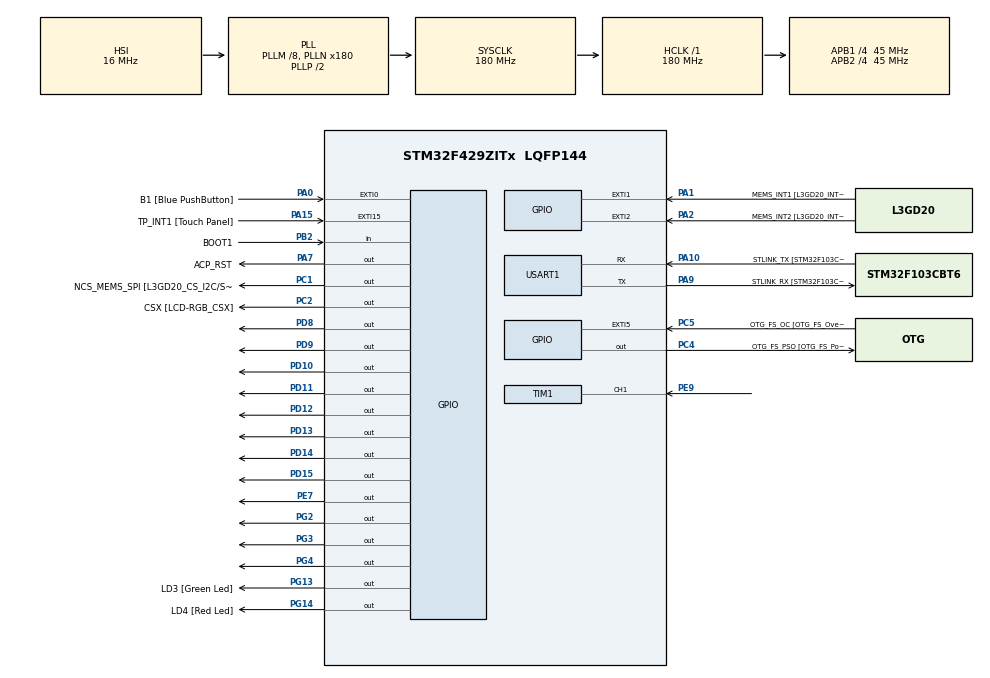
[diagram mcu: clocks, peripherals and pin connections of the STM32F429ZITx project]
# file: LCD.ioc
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Mcu.Family=STM32F4
Mcu.Name=STM32F429ZITx
Mcu.Package=LQFP144
NVIC.PriorityGroup=NVIC_PRIORITYGROUP_0
NVIC.TIM1_CC_IRQn=true\:0\:0\:false\:false\:true\:true\:true\:true
PA0/WKUP.GPIO_Label=B1 [Blue PushButton]
PA0/WKUP.GPIO_ModeDefaultEXTI=GPIO_MODE_EVT_RISING
PA0/WKUP.GPIO_PuPd=GPIO_NOPULL
PA0/WKUP.Signal=GPXTI0
PA1.GPIO_Label=MEMS_INT1 [L3GD20_INT1]
PA1.GPIO_ModeDefaultEXTI=GPIO_MODE_EVT_RISING
PA1.GPIO_PuPd=GPIO_NOPULL
PA1.Signal=GPXTI1
PA10.GPIO_Label=STLINK_TX [STM32F103CBT6_PA2]
PA10.Mode=Asynchronous
PA10.Signal=USART1_RX
PA11.GPIO_Label=R4
PA11.GPIO_Mode=GPIO_MODE_AF_PP
PA11.GPIO_PuPd=GPIO_NOPULL
PA11.GPIO_Speed=GPIO_SPEED_FREQ_LOW
PA11.Signal=LTDC_R4
PA12.GPIO_Label=R5
PA12.GPIO_Mode=GPIO_MODE_AF_PP
PA12.GPIO_PuPd=GPIO_NOPULL
PA12.GPIO_Speed=GPIO_SPEED_FREQ_LOW
PA12.Signal=LTDC_R5
PA13.GPIO_Label=SWDIO
PA13.Mode=Serial_Wire
PA13.Signal=SYS_JTMS-SWDIO
PA14.GPIO_Label=SWCLK
PA14.Mode=Serial_Wire
PA14.Signal=SYS_JTCK-SWCLK
PA15.GPIO_Label=TP_INT1 [Touch Panel]
PA15.GPIO_ModeDefaultEXTI=GPIO_MODE_EVT_RISING
PA15.GPIO_PuPd=GPIO_NOPULL
PA15.Signal=GPXTI15
PA2.GPIO_Label=MEMS_INT2 [L3GD20_INT2]
PA2.GPIO_ModeDefaultEXTI=GPIO_MODE_EVT_RISING
PA2.GPIO_PuPd=GPIO_NOPULL
PA2.Signal=GPXTI2
PA3.GPIO_Label=B5
PA3.GPIO_Mode=GPIO_MODE_AF_PP
PA3.GPIO_PuPd=GPIO_NOPULL
PA3.GPIO_Speed=GPIO_SPEED_FREQ_LOW
PA3.Signal=LTDC_B5
PA4.GPIO_Label=VSYNC
PA4.GPIO_Mode=GPIO_MODE_AF_PP
PA4.GPIO_PuPd=GPIO_NOPULL
PA4.GPIO_Speed=GPIO_SPEED_FREQ_LOW
PA4.Signal=LTDC_VSYNC
PA6.GPIO_Label=G2
PA6.GPIO_Mode=GPIO_MODE_AF_PP
PA6.GPIO_PuPd=GPIO_NOPULL
PA6.GPIO_Speed=GPIO_SPEED_FREQ_LOW
PA6.Signal=LTDC_G2
PA7.GPIO_Label=ACP_RST
PA7.GPIO_Mode=GPIO_MODE_OUTPUT_PP
PA7.GPIO_PuPd=GPIO_NOPULL
PA7.GPIO_Speed=GPIO_SPEED_FREQ_LOW
PA7.Signal=GPIO_Output
PA8.GPIO_Label=I2C3_SCL [ACP/RF_SCL]
PA8.GPIO_Mode=GPIO_MODE_AF_OD
PA8.GPIO_PuPd=GPIO_NOPULL
PA8.GPIO_Speed=GPIO_SPEED_FREQ_LOW
PA8.Signal=I2C3_SCL
PA9.GPIO_Label=STLINK_RX [STM32F103CBT6_PA3]
PA9.Mode=Asynchronous
PA9.Signal=USART1_TX
PB0.GPIO_Label=R3
PB0.GPIO_Mode=GPIO_MODE_AF_PP
PB0.GPIO_PuPd=GPIO_NOPULL
PB0.GPIO_Speed=GPIO_SPEED_FREQ_LOW
PB0.Signal=LTDC_R3
PB1.GPIO_Label=R6
PB1.GPIO_Mode=GPIO_MODE_AF_PP
PB1.GPIO_PuPd=GPIO_NOPULL
PB1.GPIO_Speed=GPIO_SPEED_FREQ_LOW
PB1.Signal=LTDC_R6
PB10.GPIO_Label=G4
PB10.GPIO_Mode=GPIO_MODE_AF_PP
PB10.GPIO_PuPd=GPIO_NOPULL
PB10.GPIO_Speed=GPIO_SPEED_FREQ_LOW
PB10.Signal=LTDC_G4
PB11.GPIO_Label=G5
PB11.GPIO_Mode=GPIO_MODE_AF_PP
PB11.GPIO_PuPd=GPIO_NOPULL
PB11.GPIO_Speed=GPIO_SPEED_FREQ_LOW
PB11.Signal=LTDC_G5
PB12.GPIO_Label=OTG_HS_ID
PB12.GPIO_Mode=GPIO_MODE_AF_PP
PB12.GPIO_PuPd=GPIO_NOPULL
PB12.GPIO_Speed=GPIO_SPEED_FREQ_LOW
PB12.Signal=USB_OTG_HS_ID
PB13.GPIO_Label=VBUS_HS
PB13.GPIO_Mode=GPIO_MODE_INPUT
PB13.GPIO_PuPd=GPIO_NOPULL
PB13.Signal=USB_OTG_HS_VBUS
PB14.GPIO_Label=OTG_HS_DM
PB14.GPIO_Mode=GPIO_MODE_AF_PP
PB14.GPIO_PuPd=GPIO_NOPULL
PB14.GPIO_Speed=GPIO_SPEED_FREQ_LOW
PB14.Signal=USB_OTG_HS_DM
PB15.GPIO_Label=OTG_HS_DP
PB15.GPIO_Mode=GPIO_MODE_AF_PP
PB15.GPIO_PuPd=GPIO_NOPULL
PB15.GPIO_Speed=GPIO_SPEED_FREQ_LOW
PB15.Signal=USB_OTG_HS_DP
PB2/BOOT1.GPIO_Label=BOOT1
PB2/BOOT1.GPIO_Mode=GPIO_MODE_INPUT
PB2/BOOT1.GPIO_PuPd=GPIO_NOPULL
PB2/BOOT1.Signal=GPIO_Input
PB5.GPIO_Label=SDCKE1
PB5.GPIO_Mode=GPIO_MODE_AF_PP
PB5.GPIO_PuPd=GPIO_NOPULL
PB5.GPIO_Speed=GPIO_SPEED_FREQ_VERY_HIGH
PB5.Signal=FMC_SDCKE1
PB6.GPIO_Label=SDNE1 [SDRAM_CS]
PB6.GPIO_Mode=GPIO_MODE_AF_PP
PB6.GPIO_PuPd=GPIO_NOPULL
PB6.GPIO_Speed=GPIO_SPEED_FREQ_VERY_HIGH
PB6.Signal=FMC_SDNE1
PB8.GPIO_Label=B6
PB8.GPIO_Mode=GPIO_MODE_AF_PP
PB8.GPIO_PuPd=GPIO_NOPULL
PB8.GPIO_Speed=GPIO_SPEED_FREQ_LOW
PB8.Signal=LTDC_B6
PB9.GPIO_Label=B7
PB9.GPIO_Mode=GPIO_MODE_AF_PP
PB9.GPIO_PuPd=GPIO_NOPULL
PB9.GPIO_Speed=GPIO_SPEED_FREQ_LOW
PB9.Signal=LTDC_B7
PC0.GPIO_Label=SDNWE
PC0.GPIO_Mode=GPIO_MODE_AF_PP
PC0.GPIO_PuPd=GPIO_NOPULL
PC0.GPIO_Speed=GPIO_SPEED_FREQ_VERY_HIGH
PC0.Signal=FMC_SDNWE
PC1.GPIO_Label=NCS_MEMS_SPI [L3GD20_CS_I2C/SPI]
PC1.GPIO_Mode=GPIO_MODE_OUTPUT_PP
PC1.GPIO_PuPd=GPIO_NOPULL
PC1.GPIO_Speed=GPIO_SPEED_FREQ_LOW
PC1.Signal=GPIO_Output
PC10.GPIO_Label=R2
PC10.GPIO_Mode=GPIO_MODE_AF_PP
PC10.GPIO_PuPd=GPIO_NOPULL
PC10.GPIO_Speed=GPIO_SPEED_FREQ_LOW
PC10.Signal=LTDC_R2
PC14/OSC32_IN.GPIO_Label=PC14-OSC32_IN
PC14/OSC32_IN.Signal=RCC_OSC32_IN
PC15/OSC32_OUT.GPIO_Label=PC15-OSC32_OUT
PC15/OSC32_OUT.Signal=RCC_OSC32_OUT
PC2.GPIO_Label=CSX [LCD-RGB_CSX]
PC2.GPIO_Mode=GPIO_MODE_OUTPUT_PP
PC2.GPIO_PuPd=GPIO_NOPULL
PC2.GPIO_Speed=GPIO_SPEED_FREQ_LOW
PC2.Signal=GPIO_Output
PC4.GPIO_Label=OTG_FS_PSO [OTG_FS_PowerSwitchOn]
PC4.GPIO_Mode=GPIO_MODE_OUTPUT_PP
PC4.GPIO_PuPd=GPIO_NOPULL
PC4.GPIO_Speed=GPIO_SPEED_FREQ_LOW
PC4.Signal=GPIO_Output
PC5.GPIO_Label=OTG_FS_OC [OTG_FS_OverCurrent]
PC5.GPIO_ModeDefaultEXTI=GPIO_MODE_EVT_RISING
PC5.Signal=GPXTI5
PC6.GPIO_Label=HSYNC
PC6.GPIO_Mode=GPIO_MODE_AF_PP
PC6.GPIO_PuPd=GPIO_NOPULL
PC6.GPIO_Speed=GPIO_SPEED_FREQ_LOW
PC6.Signal=LTDC_HSYNC
PC7.GPIO_Label=G6
PC7.GPIO_Mode=GPIO_MODE_AF_PP
PC7.GPIO_PuPd=GPIO_NOPULL
PC7.GPIO_Speed=GPIO_SPEED_FREQ_LOW
PC7.Signal=LTDC_G6
PC9.GPIO_Label=I2C3_SDA [ACP/RF_SDA]
PC9.GPIO_Mode=GPIO_MODE_AF_OD
PC9.GPIO_PuPd=GPIO_NOPULL
PC9.GPIO_Speed=GPIO_SPEED_FREQ_LOW
PC9.Signal=I2C3_SDA
PD0.GPIO_Label=D2
PD0.GPIO_Mode=GPIO_MODE_AF_PP
PD0.GPIO_PuPd=GPIO_NOPULL
PD0.GPIO_Speed=GPIO_SPEED_FREQ_VERY_HIGH
PD0.Signal=FMC_D2_DA2
PD1.GPIO_Label=D3
PD1.GPIO_Mode=GPIO_MODE_AF_PP
PD1.GPIO_PuPd=GPIO_NOPULL
PD1.GPIO_Speed=GPIO_SPEED_FREQ_VERY_HIGH
PD1.Signal=FMC_D3_DA3
PD10.Signal=GPIO_Output
PD11.Signal=GPIO_Output
PD12.Signal=GPIO_Output
PD13.Signal=GPIO_Output
PD14.Signal=GPIO_Output
PD15.Signal=GPIO_Output
PD3.GPIO_Label=G7
PD3.GPIO_Mode=GPIO_MODE_AF_PP
PD3.GPIO_PuPd=GPIO_NOPULL
PD3.GPIO_Speed=GPIO_SPEED_FREQ_LOW
PD3.Signal=LTDC_G7
PD6.GPIO_Label=B2
PD6.GPIO_Mode=GPIO_MODE_AF_PP
PD6.GPIO_PuPd=GPIO_NOPULL
PD6.GPIO_Speed=GPIO_SPEED_FREQ_LOW
PD6.Signal=LTDC_B2
PD8.Signal=GPIO_Output
PD9.Signal=GPIO_Output
PE0.GPIO_Label=NBL0 [SDRAM_LDQM]
PE0.GPIO_Mode=GPIO_MODE_AF_PP
PE0.GPIO_PuPd=GPIO_NOPULL
PE0.GPIO_Speed=GPIO_SPEED_FREQ_VERY_HIGH
PE0.Signal=FMC_NBL0
PE1.GPIO_Label=NBL1 [SDRAM_UDQM]
PE1.GPIO_Mode=GPIO_MODE_AF_PP
PE1.GPIO_PuPd=GPIO_NOPULL
PE1.GPIO_Speed=GPIO_SPEED_FREQ_VERY_HIGH
PE1.Signal=FMC_NBL1
PE10.GPIO_Label=D7
PE10.GPIO_Mode=GPIO_MODE_AF_PP
PE10.GPIO_PuPd=GPIO_NOPULL
PE10.GPIO_Speed=GPIO_SPEED_FREQ_VERY_HIGH
PE10.Signal=FMC_D7_DA7
PE11.GPIO_Label=D8
PE11.GPIO_Mode=GPIO_MODE_AF_PP
PE11.GPIO_PuPd=GPIO_NOPULL
PE11.GPIO_Speed=GPIO_SPEED_FREQ_VERY_HIGH
PE11.Signal=FMC_D8_DA8
PE12.GPIO_Label=D9
PE12.GPIO_Mode=GPIO_MODE_AF_PP
PE12.GPIO_PuPd=GPIO_NOPULL
PE12.GPIO_Speed=GPIO_SPEED_FREQ_VERY_HIGH
PE12.Signal=FMC_D9_DA9
PE13.GPIO_Label=D10
PE13.GPIO_Mode=GPIO_MODE_AF_PP
PE13.GPIO_PuPd=GPIO_NOPULL
PE13.GPIO_Speed=GPIO_SPEED_FREQ_VERY_HIGH
PE13.Signal=FMC_D10_DA10
PE14.GPIO_Label=D11
PE14.GPIO_Mode=GPIO_MODE_AF_PP
PE14.GPIO_PuPd=GPIO_NOPULL
PE14.GPIO_Speed=GPIO_SPEED_FREQ_VERY_HIGH
PE14.Signal=FMC_D11_DA11
PE15.GPIO_Label=D12
PE15.GPIO_Mode=GPIO_MODE_AF_PP
PE15.GPIO_PuPd=GPIO_NOPULL
PE15.GPIO_Speed=GPIO_SPEED_FREQ_VERY_HIGH
PE15.Signal=FMC_D12_DA12
PE7.Signal=GPIO_Output
PE8.GPIO_Label=D5
PE8.GPIO_Mode=GPIO_MODE_AF_PP
PE8.GPIO_PuPd=GPIO_NOPULL
PE8.GPIO_Speed=GPIO_SPEED_FREQ_VERY_HIGH
PE8.Signal=FMC_D5_DA5
PE9.Signal=S_TIM1_CH1
PF0.GPIO_Label=A0
PF0.GPIO_Mode=GPIO_MODE_AF_PP
PF0.GPIO_PuPd=GPIO_NOPULL
PF0.GPIO_Speed=GPIO_SPEED_FREQ_VERY_HIGH
PF0.Signal=FMC_A0
PF1.GPIO_Label=A1
PF1.GPIO_Mode=GPIO_MODE_AF_PP
PF1.GPIO_PuPd=GPIO_NOPULL
PF1.GPIO_Speed=GPIO_SPEED_FREQ_VERY_HIGH
PF1.Signal=FMC_A1
PF10.GPIO_Label=ENABLE [LCD-RGB_ENABLE]
PF10.GPIO_Mode=GPIO_MODE_AF_PP
PF10.GPIO_PuPd=GPIO_NOPULL
PF10.GPIO_Speed=GPIO_SPEED_FREQ_LOW
PF10.Signal=LTDC_DE
PF11.GPIO_Label=SDNRAS
PF11.GPIO_Mode=GPIO_MODE_AF_PP
PF11.GPIO_PuPd=GPIO_NOPULL
PF11.GPIO_Speed=GPIO_SPEED_FREQ_VERY_HIGH
PF11.Signal=FMC_SDNRAS
PF12.GPIO_Label=A6
PF12.GPIO_Mode=GPIO_MODE_AF_PP
PF12.GPIO_PuPd=GPIO_NOPULL
PF12.GPIO_Speed=GPIO_SPEED_FREQ_VERY_HIGH
PF12.Signal=FMC_A6
PF13.GPIO_Label=A7
PF13.GPIO_Mode=GPIO_MODE_AF_PP
PF13.GPIO_PuPd=GPIO_NOPULL
PF13.GPIO_Speed=GPIO_SPEED_FREQ_VERY_HIGH
PF13.Signal=FMC_A7
PF14.GPIO_Label=A8
PF14.GPIO_Mode=GPIO_MODE_AF_PP
PF14.GPIO_PuPd=GPIO_NOPULL
PF14.GPIO_Speed=GPIO_SPEED_FREQ_VERY_HIGH
PF14.Signal=FMC_A8
PF15.GPIO_Label=A9
PF15.GPIO_Mode=GPIO_MODE_AF_PP
PF15.GPIO_PuPd=GPIO_NOPULL
PF15.GPIO_Speed=GPIO_SPEED_FREQ_VERY_HIGH
PF15.Signal=FMC_A9
PF2.GPIO_Label=A2
PF2.GPIO_Mode=GPIO_MODE_AF_PP
PF2.GPIO_PuPd=GPIO_NOPULL
PF2.GPIO_Speed=GPIO_SPEED_FREQ_VERY_HIGH
PF2.Signal=FMC_A2
PF3.GPIO_Label=A3
PF3.GPIO_Mode=GPIO_MODE_AF_PP
PF3.GPIO_PuPd=GPIO_NOPULL
PF3.GPIO_Speed=GPIO_SPEED_FREQ_VERY_HIGH
PF3.Signal=FMC_A3
PF4.GPIO_Label=A4
PF4.GPIO_Mode=GPIO_MODE_AF_PP
PF4.GPIO_PuPd=GPIO_NOPULL
PF4.GPIO_Speed=GPIO_SPEED_FREQ_VERY_HIGH
PF4.Signal=FMC_A4
PF5.GPIO_Label=A5
PF5.GPIO_Mode=GPIO_MODE_AF_PP
PF5.GPIO_PuPd=GPIO_NOPULL
PF5.GPIO_Speed=GPIO_SPEED_FREQ_VERY_HIGH
PF5.Signal=FMC_A5
PF7.GPIO_Label=SPI5_SCK [L3GD20_SCL/SPC]
PF7.GPIO_Mode=GPIO_MODE_AF_PP
PF7.GPIO_PuPd=GPIO_NOPULL
PF7.GPIO_Speed=GPIO_SPEED_FREQ_LOW
PF7.Signal=SPI5_SCK
PF8.GPIO_Label=SPI5_MISO [L3GD20_SDO]
PF8.GPIO_Mode=GPIO_MODE_AF_PP
PF8.GPIO_PuPd=GPIO_NOPULL
PF8.GPIO_Speed=GPIO_SPEED_FREQ_LOW
PF8.Signal=SPI5_MISO
PF9.GPIO_Label=SPI5_MOSI [L3GD20_SDA/SDI/SDO]
PF9.GPIO_Mode=GPIO_MODE_AF_PP
PF9.GPIO_PuPd=GPIO_NOPULL
PF9.GPIO_Speed=GPIO_SPEED_FREQ_LOW
PF9.Signal=SPI5_MOSI
PG0.GPIO_Label=A10
PG0.GPIO_Mode=GPIO_MODE_AF_PP
PG0.GPIO_PuPd=GPIO_NOPULL
PG0.GPIO_Speed=GPIO_SPEED_FREQ_VERY_HIGH
PG0.Signal=FMC_A10
PG1.GPIO_Label=A11
PG1.GPIO_Mode=GPIO_MODE_AF_PP
PG1.GPIO_PuPd=GPIO_NOPULL
PG1.GPIO_Speed=GPIO_SPEED_FREQ_VERY_HIGH
PG1.Signal=FMC_A11
PG10.GPIO_Label=G3
PG10.GPIO_Mode=GPIO_MODE_AF_PP
PG10.GPIO_PuPd=GPIO_NOPULL
PG10.GPIO_Speed=GPIO_SPEED_FREQ_LOW
PG10.Signal=LTDC_G3
PG11.GPIO_Label=B3
PG11.GPIO_Mode=GPIO_MODE_AF_PP
PG11.GPIO_PuPd=GPIO_NOPULL
PG11.GPIO_Speed=GPIO_SPEED_FREQ_LOW
PG11.Signal=LTDC_B3
PG12.GPIO_Label=B4
PG12.GPIO_Mode=GPIO_MODE_AF_PP
PG12.GPIO_PuPd=GPIO_NOPULL
PG12.GPIO_Speed=GPIO_SPEED_FREQ_LOW
PG12.Signal=LTDC_B4
PG13.GPIO_Label=LD3 [Green Led]
PG13.GPIO_Mode=GPIO_MODE_OUTPUT_PP
PG13.GPIO_PuPd=GPIO_NOPULL
PG13.GPIO_Speed=GPIO_SPEED_FREQ_LOW
PG13.Signal=GPIO_Output
PG14.GPIO_Label=LD4 [Red Led]
PG14.GPIO_Mode=GPIO_MODE_OUTPUT_PP
PG14.GPIO_PuPd=GPIO_NOPULL
PG14.GPIO_Speed=GPIO_SPEED_FREQ_LOW
PG14.Signal=GPIO_Output
PG15.GPIO_Label=SDNCAS
PG15.GPIO_Mode=GPIO_MODE_AF_PP
PG15.GPIO_PuPd=GPIO_NOPULL
PG15.GPIO_Speed=GPIO_SPEED_FREQ_VERY_HIGH
PG15.Signal=FMC_SDNCAS
PG2.Signal=GPIO_Output
PG3.Signal=GPIO_Output
PG4.Signal=GPIO_Output
PG5.GPIO_Label=BA1
PG5.GPIO_Mode=GPIO_MODE_AF_PP
PG5.GPIO_PuPd=GPIO_NOPULL
PG5.GPIO_Speed=GPIO_SPEED_FREQ_VERY_HIGH
PG5.Signal=FMC_A15_BA1
PG6.GPIO_Label=R7
PG6.GPIO_Mode=GPIO_MODE_AF_PP
PG6.GPIO_PuPd=GPIO_NOPULL
PG6.GPIO_Speed=GPIO_SPEED_FREQ_LOW
PG6.Signal=LTDC_R7
PG7.GPIO_Label=DOTCLK [LCT-RGB_DOTCLK]
PG7.GPIO_Mode=GPIO_MODE_AF_PP
PG7.GPIO_PuPd=GPIO_NOPULL
PG7.GPIO_Speed=GPIO_SPEED_FREQ_LOW
PG7.Signal=LTDC_CLK
PG8.GPIO_Label=SDCLK
PG8.GPIO_Mode=GPIO_MODE_AF_PP
PG8.GPIO_PuPd=GPIO_NOPULL
PG8.GPIO_Speed=GPIO_SPEED_FREQ_VERY_HIGH
PG8.Signal=FMC_SDCLK
PH0/OSC_IN.GPIO_Label=PH0-OSC_IN
PH0/OSC_IN.Mode=HSE-External-Oscillator
PH0/OSC_IN.Signal=RCC_OSC_IN
PH1/OSC_OUT.GPIO_Label=PH1-OSC_OUT
PH1/OSC_OUT.Mode=HSE-External-Oscillator
PH1/OSC_OUT.Signal=RCC_OSC_OUT
ProjectManager.HeapSize=0x200
ProjectManager.StackSize=0x400
ProjectManager.TargetToolchain=STM32CubeIDE
RCC.48MHZClocksFreq_Value=51428571.428571425
RCC.AHBFreq_Value=180000000
RCC.APB1CLKDivider=RCC_HCLK_DIV4
RCC.APB1Freq_Value=45000000
RCC.APB1TimFreq_Value=90000000
RCC.APB2CLKDivider=RCC_HCLK_DIV4
RCC.APB2Freq_Value=45000000
RCC.APB2TimFreq_Value=90000000
RCC.CortexFreq_Value=180000000
RCC.HCLKFreq_Value=180000000
RCC.HSE_VALUE=8000000
RCC.HSI_VALUE=16000000
RCC.LSE_VALUE=32768
RCC.PLLM=8
RCC.PLLN=180
RCC.PLLQ=7
RCC.SYSCLKFreq_VALUE=180000000
RCC.SYSCLKSource=RCC_SYSCLKSOURCE_PLLCLK
RCC.VCOOutputFreq_Value=360000000
SH.FMC_A0.0=FMC_A0
SH.FMC_A1.0=FMC_A1
SH.FMC_A10.0=FMC_A10
SH.FMC_A11.0=FMC_A11
SH.FMC_A15_BA1.0=FMC_BA1
SH.FMC_A2.0=FMC_A2
SH.FMC_A3.0=FMC_A3
SH.FMC_A4.0=FMC_A4
SH.FMC_A5.0=FMC_A5
SH.FMC_A6.0=FMC_A6
SH.FMC_A7.0=FMC_A7
SH.FMC_A8.0=FMC_A8
SH.FMC_A9.0=FMC_A9
SH.FMC_D10_DA10.0=FMC_D10
SH.FMC_D11_DA11.0=FMC_D11
SH.FMC_D12_DA12.0=FMC_D12
SH.FMC_D2_DA2.0=FMC_D2
SH.FMC_D3_DA3.0=FMC_D3
SH.FMC_D5_DA5.0=FMC_D5
SH.FMC_D7_DA7.0=FMC_D7
SH.FMC_D8_DA8.0=FMC_D8
SH.FMC_D9_DA9.0=FMC_D9
SH.FMC_NBL0.0=FMC_NBL0
SH.FMC_NBL1.0=FMC_NBL1
SH.FMC_SDCLK.0=FMC_SDCLK
SH.FMC_SDNCAS.0=FMC_SDNCAS
SH.FMC_SDNRAS.0=FMC_SDNRAS
SH.FMC_SDNWE.0=FMC_SDNWE
SH.S_TIM1_CH1.0=TIM1_CH1,Input_Capture1_from_TI1
TIM1.Channel-Input_Capture1_from_TI1=TIM_CHANNEL_1
TIM1.Period=0xffff-1
TIM1.Prescaler=100-1
TIM6.Prescaler=89
USART1.VirtualMode=VM_ASYNC
VP_TIM1_VS_ClockSourceINT.Mode=Internal
VP_TIM6_VS_ClockSourceINT.Mode=Enable_Timer
board=STM32F429I-DISC1

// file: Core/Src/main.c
/* USER CODE BEGIN Header */
/**
  ******************************************************************************
  * @file           : main.c
  * @brief          : Main program body
  ******************************************************************************
  * @attention
  *
  * Copyright (c) 2025 STMicroelectronics.
  * All rights reserved.
  *
  * This software is licensed under terms that can be found in the LICENSE file
  * in the root directory of this software component.
  * If no LICENSE file comes with this software, it is provided AS-IS.
  *
  ******************************************************************************
  */
/* USER CODE END Header */
#include "main.h"
#include "HC_SR04.h"

TIM_HandleTypeDef htim1;
TIM_HandleTypeDef htim6;

UART_HandleTypeDef huart1;

void SystemClock_Config(void);
static void MX_GPIO_Init(void);
static void MX_TIM6_Init(void);
static void MX_USART1_UART_Init(void);
static void MX_TIM1_Init(void);

/* USER CODE BEGIN 0 */

void LCD_send_command(unsigned char x){
	//LCD Data

	HAL_GPIO_WritePin(GPIOD, GPIO_PIN_8, (x>>0)&0x01 ? GPIO_PIN_SET : GPIO_PIN_RESET);
	HAL_GPIO_WritePin(GPIOD, GPIO_PIN_9, (x>>1)&0x01 ? GPIO_PIN_SET : GPIO_PIN_RESET);
	HAL_GPIO_WritePin(GPIOD, GPIO_PIN_10, (x>>2)&0x01 ? GPIO_PIN_SET : GPIO_PIN_RESET);
	HAL_GPIO_WritePin(GPIOD, GPIO_PIN_11, (x>>3)&0x01 ? GPIO_PIN_SET : GPIO_PIN_RESET);
	HAL_GPIO_WritePin(GPIOD, GPIO_PIN_12, (x>>4)&0x01 ? GPIO_PIN_SET : GPIO_PIN_RESET);
	HAL_GPIO_WritePin(GPIOD, GPIO_PIN_13, (x>>5)&0x01 ? GPIO_PIN_SET : GPIO_PIN_RESET);
	HAL_GPIO_WritePin(GPIOD, GPIO_PIN_14, (x>>6)&0x01 ? GPIO_PIN_SET : GPIO_PIN_RESET);
	HAL_GPIO_WritePin(GPIOD, GPIO_PIN_15, (x>>7)&0x01 ? GPIO_PIN_SET : GPIO_PIN_RESET);

	//RS = 0;
	HAL_GPIO_WritePin(GPIOG, GPIO_PIN_3, GPIO_PIN_RESET);

	//RW = 0
	HAL_GPIO_WritePin(GPIOG, GPIO_PIN_2 , GPIO_PIN_RESET);

	//EN = 1;
	HAL_GPIO_WritePin(GPIOG, GPIO_PIN_4, GPIO_PIN_SET);

	HAL_Delay(1);

	//EN = 0;
	HAL_GPIO_WritePin(GPIOG, GPIO_PIN_4, GPIO_PIN_RESET);

	HAL_Delay(1);

	//EN = 1;
	HAL_GPIO_WritePin(GPIOG, GPIO_PIN_4, GPIO_PIN_SET);

}

void LCD_Write_One_Char(unsigned char c){
	//LCD Data
		HAL_GPIO_WritePin(GPIOD, GPIO_PIN_8, (c>>0)&0x01 ? GPIO_PIN_SET : GPIO_PIN_RESET);
		HAL_GPIO_WritePin(GPIOD, GPIO_PIN_9, (c>>1)&0x01 ? GPIO_PIN_SET : GPIO_PIN_RESET);
		HAL_GPIO_WritePin(GPIOD, GPIO_PIN_10, (c>>2)&0x01 ? GPIO_PIN_SET : GPIO_PIN_RESET);
		HAL_GPIO_WritePin(GPIOD, GPIO_PIN_11, (c>>3)&0x01 ? GPIO_PIN_SET : GPIO_PIN_RESET);
		HAL_GPIO_WritePin(GPIOD, GPIO_PIN_12, (c>>4)&0x01 ? GPIO_PIN_SET : GPIO_PIN_RESET);
		HAL_GPIO_WritePin(GPIOD, GPIO_PIN_13, (c>>5)&0x01 ? GPIO_PIN_SET : GPIO_PIN_RESET);
		HAL_GPIO_WritePin(GPIOD, GPIO_PIN_14, (c>>6)&0x01 ? GPIO_PIN_SET : GPIO_PIN_RESET);
		HAL_GPIO_WritePin(GPIOD, GPIO_PIN_15, (c>>7)&0x01 ? GPIO_PIN_SET : GPIO_PIN_RESET);

		//RS = 1;
		HAL_GPIO_WritePin(GPIOG, GPIO_PIN_3, GPIO_PIN_SET);

		//RW = 0
		HAL_GPIO_WritePin(GPIOG, GPIO_PIN_2 , GPIO_PIN_RESET);

		//EN = 1;
		HAL_GPIO_WritePin(GPIOG, GPIO_PIN_4, GPIO_PIN_SET);

		HAL_Delay(1);

		//EN = 0;
		HAL_GPIO_WritePin(GPIOG, GPIO_PIN_4, GPIO_PIN_RESET);

		HAL_Delay(1);

		//EN = 1;
		HAL_GPIO_WritePin(GPIOG, GPIO_PIN_4, GPIO_PIN_SET);

}

void LCD_Init(){

	LCD_send_command(0x38);

	LCD_send_command(0x0E);

	LCD_send_command(0x01);

	LCD_send_command(0x80);

}

void LCD_Write_String(char* str){
	int i = 0;
	char input_char;
	for(i = 0 ; *(str+i) != '\0'; i++){
		input_char = *(str+i);
		//Write Char into Pin
		HAL_GPIO_WritePin(GPIOD, GPIO_PIN_8, (input_char>>0)&0x01 ? GPIO_PIN_SET : GPIO_PIN_RESET);
			HAL_GPIO_WritePin(GPIOD, GPIO_PIN_9, (input_char>>1)&0x01 ? GPIO_PIN_SET : GPIO_PIN_RESET);
			HAL_GPIO_WritePin(GPIOD, GPIO_PIN_10, (input_char>>2)&0x01 ? GPIO_PIN_SET : GPIO_PIN_RESET);
			HAL_GPIO_WritePin(GPIOD, GPIO_PIN_11, (input_char>>3)&0x01 ? GPIO_PIN_SET : GPIO_PIN_RESET);
			HAL_GPIO_WritePin(GPIOD, GPIO_PIN_12, (input_char>>4)&0x01 ? GPIO_PIN_SET : GPIO_PIN_RESET);
			HAL_GPIO_WritePin(GPIOD, GPIO_PIN_13, (input_char>>5)&0x01 ? GPIO_PIN_SET : GPIO_PIN_RESET);
			HAL_GPIO_WritePin(GPIOD, GPIO_PIN_14, (input_char>>6)&0x01 ? GPIO_PIN_SET : GPIO_PIN_RESET);
			HAL_GPIO_WritePin(GPIOD, GPIO_PIN_15, (input_char>>7)&0x01 ? GPIO_PIN_SET : GPIO_PIN_RESET);

		//RS = 1;
					HAL_GPIO_WritePin(GPIOG, GPIO_PIN_3, GPIO_PIN_SET);

					//RW = 0
					HAL_GPIO_WritePin(GPIOG, GPIO_PIN_2 , GPIO_PIN_RESET);

					//EN = 1;
					HAL_GPIO_WritePin(GPIOG, GPIO_PIN_4, GPIO_PIN_SET);

					HAL_Delay(1);

					//EN = 0;
					HAL_GPIO_WritePin(GPIOG, GPIO_PIN_4, GPIO_PIN_RESET);

					HAL_Delay(1);

					//EN = 1;
					HAL_GPIO_WritePin(GPIOG, GPIO_PIN_4, GPIO_PIN_SET);

					HAL_Delay(1);
	}

}

/* USER CODE END 0 */
uint8_t dis = 0;

int main(void)
{

  /* USER CODE BEGIN 1 */

	//LCD_Write_One_Char('A');
  /* USER CODE END 1 */

  /* MCU Configuration--------------------------------------------------------*/

  /* Reset of all peripherals, Initializes the Flash interface and the Systick. */
  HAL_Init();

  /* Configure the system clock */
  SystemClock_Config();

  /* Initialize all configured peripherals */
  MX_GPIO_Init();
  MX_TIM6_Init();
  MX_USART1_UART_Init();
  MX_TIM1_Init();
  HAL_TIM_IC_Start_IT(&htim1, TIM_CHANNEL_1);
  /* USER CODE BEGIN 2 */

  LCD_Init();
  //LCD_Write_One_Char('B');
  char str[] = "Xin Chao";
  LCD_Write_String(str);
//  LCD_send_command(0xC0);	//Xuong dong Line 2nd
  char str2[] = "HEDSPI K67";
//  LCD_Write_String(str2);
  LCD_Write_String(str2);

  /* USER CODE END 2 */

  /* Infinite loop */
  while (1)
  {

	dis = HCSR04_GetDis();
	HAL_Delay(500);

  }
}

void SystemClock_Config(void)
{
  RCC_OscInitTypeDef RCC_OscInitStruct = {0};
  RCC_ClkInitTypeDef RCC_ClkInitStruct = {0};

  /** Configure the main internal regulator output voltage
  */
  __HAL_RCC_PWR_CLK_ENABLE();
  __HAL_PWR_VOLTAGESCALING_CONFIG(PWR_REGULATOR_VOLTAGE_SCALE1);

  /** Initializes the RCC Oscillators according to the specified parameters
  * in the RCC_OscInitTypeDef structure.
  */
  RCC_OscInitStruct.OscillatorType = RCC_OSCILLATORTYPE_HSI;
  RCC_OscInitStruct.HSIState = RCC_HSI_ON;
  RCC_OscInitStruct.HSICalibrationValue = RCC_HSICALIBRATION_DEFAULT;
  RCC_OscInitStruct.PLL.PLLState = RCC_PLL_ON;
  RCC_OscInitStruct.PLL.PLLSource = RCC_PLLSOURCE_HSI;
  RCC_OscInitStruct.PLL.PLLM = 8;
  RCC_OscInitStruct.PLL.PLLN = 180;
  RCC_OscInitStruct.PLL.PLLP = RCC_PLLP_DIV2;
  RCC_OscInitStruct.PLL.PLLQ = 7;
  if (HAL_RCC_OscConfig(&RCC_OscInitStruct) != HAL_OK)
  {
    Error_Handler();
  }

  /** Activate the Over-Drive mode
  */
  if (HAL_PWREx_EnableOverDrive() != HAL_OK)
  {
    Error_Handler();
  }

  /** Initializes the CPU, AHB and APB buses clocks
  */
  RCC_ClkInitStruct.ClockType = RCC_CLOCKTYPE_HCLK|RCC_CLOCKTYPE_SYSCLK
                              |RCC_CLOCKTYPE_PCLK1|RCC_CLOCKTYPE_PCLK2;
  RCC_ClkInitStruct.SYSCLKSource = RCC_SYSCLKSOURCE_PLLCLK;
  RCC_ClkInitStruct.AHBCLKDivider = RCC_SYSCLK_DIV1;
  RCC_ClkInitStruct.APB1CLKDivider = RCC_HCLK_DIV4;
  RCC_ClkInitStruct.APB2CLKDivider = RCC_HCLK_DIV4;

  if (HAL_RCC_ClockConfig(&RCC_ClkInitStruct, FLASH_LATENCY_5) != HAL_OK)
  {
    Error_Handler();
  }
}

static void MX_TIM1_Init(void)
{

  TIM_ClockConfigTypeDef sClockSourceConfig = {0};
  TIM_MasterConfigTypeDef sMasterConfig = {0};
  TIM_IC_InitTypeDef sConfigIC = {0};

  htim1.Instance = TIM1;
  htim1.Init.Prescaler = 100-1;
  htim1.Init.CounterMode = TIM_COUNTERMODE_UP;
  htim1.Init.Period = 0xffff-1;
  htim1.Init.ClockDivision = TIM_CLOCKDIVISION_DIV1;
  htim1.Init.RepetitionCounter = 0;
  htim1.Init.AutoReloadPreload = TIM_AUTORELOAD_PRELOAD_DISABLE;
  if (HAL_TIM_Base_Init(&htim1) != HAL_OK)
  {
    Error_Handler();
  }
  sClockSourceConfig.ClockSource = TIM_CLOCKSOURCE_INTERNAL;
  if (HAL_TIM_ConfigClockSource(&htim1, &sClockSourceConfig) != HAL_OK)
  {
    Error_Handler();
  }
  if (HAL_TIM_IC_Init(&htim1) != HAL_OK)
  {
    Error_Handler();
  }
  sMasterConfig.MasterOutputTrigger = TIM_TRGO_RESET;
  sMasterConfig.MasterSlaveMode = TIM_MASTERSLAVEMODE_DISABLE;
  if (HAL_TIMEx_MasterConfigSynchronization(&htim1, &sMasterConfig) != HAL_OK)
  {
    Error_Handler();
  }
  sConfigIC.ICPolarity = TIM_INPUTCHANNELPOLARITY_RISING;
  sConfigIC.ICSelection = TIM_ICSELECTION_DIRECTTI;
  sConfigIC.ICPrescaler = TIM_ICPSC_DIV1;
  sConfigIC.ICFilter = 0;
  if (HAL_TIM_IC_ConfigChannel(&htim1, &sConfigIC, TIM_CHANNEL_1) != HAL_OK)
  {
    Error_Handler();
  }

}

static void MX_TIM6_Init(void)
{

  TIM_MasterConfigTypeDef sMasterConfig = {0};

  htim6.Instance = TIM6;
  htim6.Init.Prescaler = 89;
  htim6.Init.CounterMode = TIM_COUNTERMODE_UP;
  htim6.Init.Period = 65535;
  htim6.Init.AutoReloadPreload = TIM_AUTORELOAD_PRELOAD_DISABLE;
  if (HAL_TIM_Base_Init(&htim6) != HAL_OK)
  {
    Error_Handler();
  }
  sMasterConfig.MasterOutputTrigger = TIM_TRGO_RESET;
  sMasterConfig.MasterSlaveMode = TIM_MASTERSLAVEMODE_DISABLE;
  if (HAL_TIMEx_MasterConfigSynchronization(&htim6, &sMasterConfig) != HAL_OK)
  {
    Error_Handler();
  }

}

static void MX_USART1_UART_Init(void)
{

  huart1.Instance = USART1;
  huart1.Init.BaudRate = 115200;
  huart1.Init.WordLength = UART_WORDLENGTH_8B;
  huart1.Init.StopBits = UART_STOPBITS_1;
  huart1.Init.Parity = UART_PARITY_NONE;
  huart1.Init.Mode = UART_MODE_TX_RX;
  huart1.Init.HwFlowCtl = UART_HWCONTROL_NONE;
  huart1.Init.OverSampling = UART_OVERSAMPLING_16;
  if (HAL_UART_Init(&huart1) != HAL_OK)
  {
    Error_Handler();
  }

}

static void MX_GPIO_Init(void)
{
  GPIO_InitTypeDef GPIO_InitStruct = {0};

  /* GPIO Ports Clock Enable */
  __HAL_RCC_GPIOC_CLK_ENABLE();
  __HAL_RCC_GPIOF_CLK_ENABLE();
  __HAL_RCC_GPIOH_CLK_ENABLE();
  __HAL_RCC_GPIOA_CLK_ENABLE();
  __HAL_RCC_GPIOB_CLK_ENABLE();
  __HAL_RCC_GPIOG_CLK_ENABLE();
  __HAL_RCC_GPIOE_CLK_ENABLE();
  __HAL_RCC_GPIOD_CLK_ENABLE();

  /*Configure GPIO pin Output Level */
  HAL_GPIO_WritePin(GPIOC, NCS_MEMS_SPI_Pin|CSX_Pin|OTG_FS_PSO_Pin, GPIO_PIN_RESET);

  /*Configure GPIO pin Output Level */
  HAL_GPIO_WritePin(ACP_RST_GPIO_Port, ACP_RST_Pin, GPIO_PIN_RESET);

  /*Configure GPIO pin Output Level */
  HAL_GPIO_WritePin(GPIOE, GPIO_PIN_7, GPIO_PIN_RESET);

  /*Configure GPIO pin Output Level */
  HAL_GPIO_WritePin(GPIOD, GPIO_PIN_8|GPIO_PIN_9|GPIO_PIN_10|GPIO_PIN_11
                          |GPIO_PIN_12|GPIO_PIN_13|GPIO_PIN_14|GPIO_PIN_15, GPIO_PIN_RESET);

  /*Configure GPIO pin Output Level */
  HAL_GPIO_WritePin(GPIOG, GPIO_PIN_2|GPIO_PIN_3|GPIO_PIN_4|LD3_Pin
                          |LD4_Pin, GPIO_PIN_RESET);

  /*Configure GPIO pins : A0_Pin A1_Pin A2_Pin A3_Pin
                           A4_Pin A5_Pin SDNRAS_Pin A6_Pin
                           A7_Pin A8_Pin A9_Pin */
  GPIO_InitStruct.Pin = A0_Pin|A1_Pin|A2_Pin|A3_Pin
                          |A4_Pin|A5_Pin|SDNRAS_Pin|A6_Pin
                          |A7_Pin|A8_Pin|A9_Pin;
  GPIO_InitStruct.Mode = GPIO_MODE_AF_PP;
  GPIO_InitStruct.Pull = GPIO_NOPULL;
  GPIO_InitStruct.Speed = GPIO_SPEED_FREQ_VERY_HIGH;
  GPIO_InitStruct.Alternate = GPIO_AF12_FMC;
  HAL_GPIO_Init(GPIOF, &GPIO_InitStruct);

  /*Configure GPIO pins : SPI5_SCK_Pin SPI5_MISO_Pin SPI5_MOSI_Pin */
  GPIO_InitStruct.Pin = SPI5_SCK_Pin|SPI5_MISO_Pin|SPI5_MOSI_Pin;
  GPIO_InitStruct.Mode = GPIO_MODE_AF_PP;
  GPIO_InitStruct.Pull = GPIO_NOPULL;
  GPIO_InitStruct.Speed = GPIO_SPEED_FREQ_LOW;
  GPIO_InitStruct.Alternate = GPIO_AF5_SPI5;
  HAL_GPIO_Init(GPIOF, &GPIO_InitStruct);

  /*Configure GPIO pin : ENABLE_Pin */
  GPIO_InitStruct.Pin = ENABLE_Pin;
  GPIO_InitStruct.Mode = GPIO_MODE_AF_PP;
  GPIO_InitStruct.Pull = GPIO_NOPULL;
  GPIO_InitStruct.Speed = GPIO_SPEED_FREQ_LOW;
  GPIO_InitStruct.Alternate = GPIO_AF14_LTDC;
  HAL_GPIO_Init(ENABLE_GPIO_Port, &GPIO_InitStruct);

  /*Configure GPIO pin : SDNWE_Pin */
  GPIO_InitStruct.Pin = SDNWE_Pin;
  GPIO_InitStruct.Mode = GPIO_MODE_AF_PP;
  GPIO_InitStruct.Pull = GPIO_NOPULL;
  GPIO_InitStruct.Speed = GPIO_SPEED_FREQ_VERY_HIGH;
  GPIO_InitStruct.Alternate = GPIO_AF12_FMC;
  HAL_GPIO_Init(SDNWE_GPIO_Port, &GPIO_InitStruct);

  /*Configure GPIO pins : NCS_MEMS_SPI_Pin CSX_Pin OTG_FS_PSO_Pin */
  GPIO_InitStruct.Pin = NCS_MEMS_SPI_Pin|CSX_Pin|OTG_FS_PSO_Pin;
  GPIO_InitStruct.Mode = GPIO_MODE_OUTPUT_PP;
  GPIO_InitStruct.Pull = GPIO_NOPULL;
  GPIO_InitStruct.Speed = GPIO_SPEED_FREQ_LOW;
  HAL_GPIO_Init(GPIOC, &GPIO_InitStruct);

  /*Configure GPIO pins : B1_Pin MEMS_INT1_Pin MEMS_INT2_Pin TP_INT1_Pin */
  GPIO_InitStruct.Pin = B1_Pin|MEMS_INT1_Pin|MEMS_INT2_Pin|TP_INT1_Pin;
  GPIO_InitStruct.Mode = GPIO_MODE_EVT_RISING;
  GPIO_InitStruct.Pull = GPIO_NOPULL;
  HAL_GPIO_Init(GPIOA, &GPIO_InitStruct);

  /*Configure GPIO pins : B5_Pin VSYNC_Pin G2_Pin R4_Pin
                           R5_Pin */
  GPIO_InitStruct.Pin = B5_Pin|VSYNC_Pin|G2_Pin|R4_Pin
                          |R5_Pin;
  GPIO_InitStruct.Mode = GPIO_MODE_AF_PP;
  GPIO_InitStruct.Pull = GPIO_NOPULL;
  GPIO_InitStruct.Speed = GPIO_SPEED_FREQ_LOW;
  GPIO_InitStruct.Alternate = GPIO_AF14_LTDC;
  HAL_GPIO_Init(GPIOA, &GPIO_InitStruct);

  /*Configure GPIO pin : ACP_RST_Pin */
  GPIO_InitStruct.Pin = ACP_RST_Pin;
  GPIO_InitStruct.Mode = GPIO_MODE_OUTPUT_PP;
  GPIO_InitStruct.Pull = GPIO_NOPULL;
  GPIO_InitStruct.Speed = GPIO_SPEED_FREQ_LOW;
  HAL_GPIO_Init(ACP_RST_GPIO_Port, &GPIO_InitStruct);

  /*Configure GPIO pin : OTG_FS_OC_Pin */
  GPIO_InitStruct.Pin = OTG_FS_OC_Pin;
  GPIO_InitStruct.Mode = GPIO_MODE_EVT_RISING;
  GPIO_InitStruct.Pull = GPIO_NOPULL;
  HAL_GPIO_Init(OTG_FS_OC_GPIO_Port, &GPIO_InitStruct);

  /*Configure GPIO pins : R3_Pin R6_Pin */
  GPIO_InitStruct.Pin = R3_Pin|R6_Pin;
  GPIO_InitStruct.Mode = GPIO_MODE_AF_PP;
  GPIO_InitStruct.Pull = GPIO_NOPULL;
  GPIO_InitStruct.Speed = GPIO_SPEED_FREQ_LOW;
  GPIO_InitStruct.Alternate = GPIO_AF9_LTDC;
  HAL_GPIO_Init(GPIOB, &GPIO_InitStruct);

  /*Configure GPIO pin : BOOT1_Pin */
  GPIO_InitStruct.Pin = BOOT1_Pin;
  GPIO_InitStruct.Mode = GPIO_MODE_INPUT;
  GPIO_InitStruct.Pull = GPIO_NOPULL;
  HAL_GPIO_Init(BOOT1_GPIO_Port, &GPIO_InitStruct);

  /*Configure GPIO pins : A10_Pin A11_Pin BA1_Pin SDCLK_Pin
                           SDNCAS_Pin */
  GPIO_InitStruct.Pin = A10_Pin|A11_Pin|BA1_Pin|SDCLK_Pin
                          |SDNCAS_Pin;
  GPIO_InitStruct.Mode = GPIO_MODE_AF_PP;
  GPIO_InitStruct.Pull = GPIO_NOPULL;
  GPIO_InitStruct.Speed = GPIO_SPEED_FREQ_VERY_HIGH;
  GPIO_InitStruct.Alternate = GPIO_AF12_FMC;
  HAL_GPIO_Init(GPIOG, &GPIO_InitStruct);

  /*Configure GPIO pin : PE7 */
  GPIO_InitStruct.Pin = GPIO_PIN_7;
  GPIO_InitStruct.Mode = GPIO_MODE_OUTPUT_PP;
  GPIO_InitStruct.Pull = GPIO_NOPULL;
  GPIO_InitStruct.Speed = GPIO_SPEED_FREQ_LOW;
  HAL_GPIO_Init(GPIOE, &GPIO_InitStruct);

  /*Configure GPIO pins : D5_Pin D7_Pin D8_Pin D9_Pin
                           D10_Pin D11_Pin D12_Pin NBL0_Pin
                           NBL1_Pin */
  GPIO_InitStruct.Pin = D5_Pin|D7_Pin|D8_Pin|D9_Pin
                          |D10_Pin|D11_Pin|D12_Pin|NBL0_Pin
                          |NBL1_Pin;
  GPIO_InitStruct.Mode = GPIO_MODE_AF_PP;
  GPIO_InitStruct.Pull = GPIO_NOPULL;
  GPIO_InitStruct.Speed = GPIO_SPEED_FREQ_VERY_HIGH;
  GPIO_InitStruct.Alternate = GPIO_AF12_FMC;
  HAL_GPIO_Init(GPIOE, &GPIO_InitStruct);

  /*Configure GPIO pins : G4_Pin G5_Pin B6_Pin B7_Pin */
  GPIO_InitStruct.Pin = G4_Pin|G5_Pin|B6_Pin|B7_Pin;
  GPIO_InitStruct.Mode = GPIO_MODE_AF_PP;
  GPIO_InitStruct.Pull = GPIO_NOPULL;
  GPIO_InitStruct.Speed = GPIO_SPEED_FREQ_LOW;
  GPIO_InitStruct.Alternate = GPIO_AF14_LTDC;
  HAL_GPIO_Init(GPIOB, &GPIO_InitStruct);

  /*Configure GPIO pins : OTG_HS_ID_Pin OTG_HS_DM_Pin OTG_HS_DP_Pin */
  GPIO_InitStruct.Pin = OTG_HS_ID_Pin|OTG_HS_DM_Pin|OTG_HS_DP_Pin;
  GPIO_InitStruct.Mode = GPIO_MODE_AF_PP;
  GPIO_InitStruct.Pull = GPIO_NOPULL;
  GPIO_InitStruct.Speed = GPIO_SPEED_FREQ_LOW;
  GPIO_InitStruct.Alternate = GPIO_AF12_OTG_HS_FS;
  HAL_GPIO_Init(GPIOB, &GPIO_InitStruct);

  /*Configure GPIO pin : VBUS_HS_Pin */
  GPIO_InitStruct.Pin = VBUS_HS_Pin;
  GPIO_InitStruct.Mode = GPIO_MODE_INPUT;
  GPIO_InitStruct.Pull = GPIO_NOPULL;
  HAL_GPIO_Init(VBUS_HS_GPIO_Port, &GPIO_InitStruct);

  /*Configure GPIO pins : PD8 PD9 PD10 PD11
                           PD12 PD13 PD14 PD15 */
  GPIO_InitStruct.Pin = GPIO_PIN_8|GPIO_PIN_9|GPIO_PIN_10|GPIO_PIN_11
                          |GPIO_PIN_12|GPIO_PIN_13|GPIO_PIN_14|GPIO_PIN_15;
  GPIO_InitStruct.Mode = GPIO_MODE_OUTPUT_PP;
  GPIO_InitStruct.Pull = GPIO_NOPULL;
  GPIO_InitStruct.Speed = GPIO_SPEED_FREQ_LOW;
  HAL_GPIO_Init(GPIOD, &GPIO_InitStruct);

  /*Configure GPIO pins : PG2 PG3 PG4 LD3_Pin
                           LD4_Pin */
  GPIO_InitStruct.Pin = GPIO_PIN_2|GPIO_PIN_3|GPIO_PIN_4|LD3_Pin
                          |LD4_Pin;
  GPIO_InitStruct.Mode = GPIO_MODE_OUTPUT_PP;
  GPIO_InitStruct.Pull = GPIO_NOPULL;
  GPIO_InitStruct.Speed = GPIO_SPEED_FREQ_LOW;
  HAL_GPIO_Init(GPIOG, &GPIO_InitStruct);

  /*Configure GPIO pins : R7_Pin DOTCLK_Pin B3_Pin */
  GPIO_InitStruct.Pin = R7_Pin|DOTCLK_Pin|B3_Pin;
  GPIO_InitStruct.Mode = GPIO_MODE_AF_PP;
  GPIO_InitStruct.Pull = GPIO_NOPULL;
  GPIO_InitStruct.Speed = GPIO_SPEED_FREQ_LOW;
  GPIO_InitStruct.Alternate = GPIO_AF14_LTDC;
  HAL_GPIO_Init(GPIOG, &GPIO_InitStruct);

  /*Configure GPIO pins : HSYNC_Pin G6_Pin R2_Pin */
  GPIO_InitStruct.Pin = HSYNC_Pin|G6_Pin|R2_Pin;
  GPIO_InitStruct.Mode = GPIO_MODE_AF_PP;
  GPIO_InitStruct.Pull = GPIO_NOPULL;
  GPIO_InitStruct.Speed = GPIO_SPEED_FREQ_LOW;
  GPIO_InitStruct.Alternate = GPIO_AF14_LTDC;
  HAL_GPIO_Init(GPIOC, &GPIO_InitStruct);

  /*Configure GPIO pin : I2C3_SDA_Pin */
  GPIO_InitStruct.Pin = I2C3_SDA_Pin;
  GPIO_InitStruct.Mode = GPIO_MODE_AF_OD;
  GPIO_InitStruct.Pull = GPIO_NOPULL;
  GPIO_InitStruct.Speed = GPIO_SPEED_FREQ_LOW;
  GPIO_InitStruct.Alternate = GPIO_AF4_I2C3;
  HAL_GPIO_Init(I2C3_SDA_GPIO_Port, &GPIO_InitStruct);

  /*Configure GPIO pin : I2C3_SCL_Pin */
  GPIO_InitStruct.Pin = I2C3_SCL_Pin;
  GPIO_InitStruct.Mode = GPIO_MODE_AF_OD;
  GPIO_InitStruct.Pull = GPIO_NOPULL;
  GPIO_InitStruct.Speed = GPIO_SPEED_FREQ_LOW;
  GPIO_InitStruct.Alternate = GPIO_AF4_I2C3;
  HAL_GPIO_Init(I2C3_SCL_GPIO_Port, &GPIO_InitStruct);

  /*Configure GPIO pins : D2_Pin D3_Pin */
  GPIO_InitStruct.Pin = D2_Pin|D3_Pin;
  GPIO_InitStruct.Mode = GPIO_MODE_AF_PP;
  GPIO_InitStruct.Pull = GPIO_NOPULL;
  GPIO_InitStruct.Speed = GPIO_SPEED_FREQ_VERY_HIGH;
  GPIO_InitStruct.Alternate = GPIO_AF12_FMC;
  HAL_GPIO_Init(GPIOD, &GPIO_InitStruct);

  /*Configure GPIO pins : G7_Pin B2_Pin */
  GPIO_InitStruct.Pin = G7_Pin|B2_Pin;
  GPIO_InitStruct.Mode = GPIO_MODE_AF_PP;
  GPIO_InitStruct.Pull = GPIO_NOPULL;
  GPIO_InitStruct.Speed = GPIO_SPEED_FREQ_LOW;
  GPIO_InitStruct.Alternate = GPIO_AF14_LTDC;
  HAL_GPIO_Init(GPIOD, &GPIO_InitStruct);

  /*Configure GPIO pins : G3_Pin B4_Pin */
  GPIO_InitStruct.Pin = G3_Pin|B4_Pin;
  GPIO_InitStruct.Mode = GPIO_MODE_AF_PP;
  GPIO_InitStruct.Pull = GPIO_NOPULL;
  GPIO_InitStruct.Speed = GPIO_SPEED_FREQ_LOW;
  GPIO_InitStruct.Alternate = GPIO_AF9_LTDC;
  HAL_GPIO_Init(GPIOG, &GPIO_InitStruct);

  /*Configure GPIO pins : SDCKE1_Pin SDNE1_Pin */
  GPIO_InitStruct.Pin = SDCKE1_Pin|SDNE1_Pin;
  GPIO_InitStruct.Mode = GPIO_MODE_AF_PP;
  GPIO_InitStruct.Pull = GPIO_NOPULL;
  GPIO_InitStruct.Speed = GPIO_SPEED_FREQ_VERY_HIGH;
  GPIO_InitStruct.Alternate = GPIO_AF12_FMC;
  HAL_GPIO_Init(GPIOB, &GPIO_InitStruct);

}

void Error_Handler(void)
{
  __disable_irq();
  while (1)
  {
  }
}
